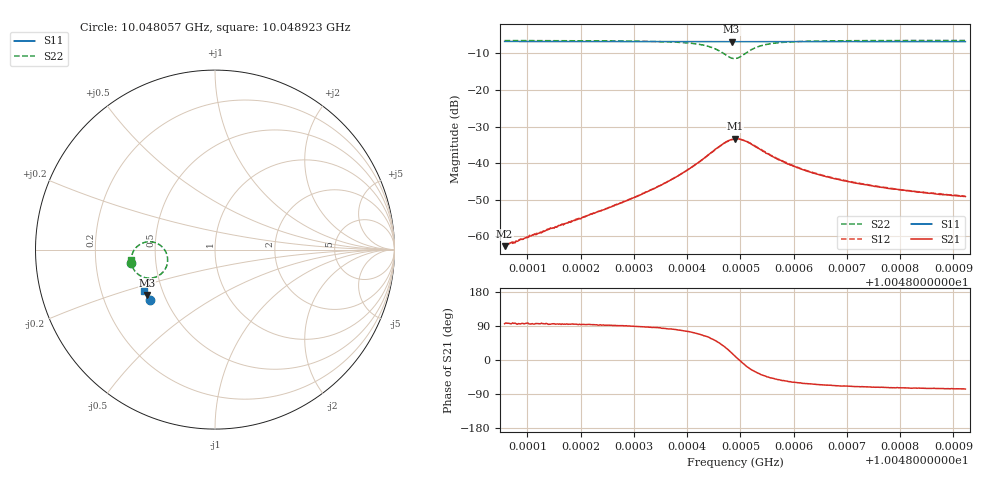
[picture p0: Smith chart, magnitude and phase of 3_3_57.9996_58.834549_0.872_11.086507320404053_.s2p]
#  HZ  S  RI  R  50.00
! Rohde & Schwarz Vector Network Analyzer
! Rohde-Schwarz,ZNB20-2Port,1311601062101988,3.16
! Created: UTC 3/21/2024, 12:50:22 AM
! freq[Hz]  re:S11  im:S11  re:S21  im:S21  re:S12  im:S12  re:S22  im:S22
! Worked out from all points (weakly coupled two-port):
!   401 points, 10.048057 GHz to 10.048923 GHz, reference 50 ohm
!   highest |S21| = -33.32 dB at 10.04849 GHz (marker M1); lowest = -62.7 dB at 10.048057 GHz (marker M2)
!   lowest |S11| = -6.8 dB at 10.048483 GHz (marker M3), VSWR 2.68, Z = 20.1 - j13 ohm
!   |S11| at or under -10 dB: nowhere
!   |S22| runs from -11.4 to -6.5 dB; largest |S21 - S12| = 0.0018
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1.00480571e10  -0.3641 -0.2803  -7.45e-05 0.000733  -0.000124 0.000741  -0.4673 -0.0746
1.00481415e10  -0.3676 -0.2756  -9.71e-05 0.00126  -0.000201 0.00126  -0.4677 -0.0643
1.00482021e10  -0.37 -0.2723  -0.00013 0.0018  -0.000235 0.00179  -0.4675 -0.0551
1.00482778e10  -0.3727 -0.268  -2.98e-05 0.00291  -0.000177 0.00289  -0.4654 -0.0396
1.0048347e10  -0.3754 -0.2641  0.000423 0.00487  0.000175 0.00492  -0.4584 -0.0172
1.00483968e10  -0.3771 -0.2609  0.00184 0.00755  0.00137 0.00765  -0.4414 0.00948
1.00484314e10  -0.3781 -0.2585  0.00512 0.0104  0.00435 0.0107  -0.407 0.0349
1.00484487e10  -0.3784 -0.2575  0.00849 0.0118  0.00774 0.0123  -0.3722 0.0437
1.00484617e10  -0.3784 -0.2566  0.0125 0.0119  0.0115 0.0127  -0.3352 0.0394
1.00484747e10  -0.3783 -0.2559  0.0172 0.00986  0.0163 0.0109  -0.2939 0.0146
1.00484834e10  -0.3781 -0.2557  0.0199 0.00676  0.0193 0.00832  -0.2724 -0.0167
1.00484899e10  -0.3784 -0.2557  0.0213 0.00376  0.0207 0.0055  -0.2645 -0.0457
1.00485007e10  -0.3786 -0.2557  0.0211 -0.00127  0.0212 0.000338  -0.2707 -0.0946
1.00485158e10  -0.3794 -0.2555  0.0177 -0.00683  0.0185 -0.00539  -0.3084 -0.1414
1.0048531e10  -0.3801 -0.2549  0.0137 -0.00902  0.0145 -0.00814  -0.3507 -0.1581
1.00485461e10  -0.3811 -0.2543  0.0105 -0.0095  0.0114 -0.00874  -0.3837 -0.1575
1.00485937e10  -0.3833 -0.2514  0.00511 -0.00789  0.00574 -0.00776  -0.434 -0.1326
1.00486348e10  -0.385 -0.249  0.0033 -0.0066  0.00377 -0.00655  -0.4502 -0.1143
1.00487106e10  -0.3877 -0.2446  0.00189 -0.00512  0.00227 -0.00506  -0.462 -0.0925
1.00487798e10  -0.3903 -0.2406  0.00131 -0.00432  0.00163 -0.00426  -0.4664 -0.0792
1.0048849e10  -0.3926 -0.2366  0.00103 -0.00379  0.00127 -0.00375  -0.4691 -0.0692
1.00489226e10  -0.3949 -0.2323  0.000808 -0.00341  0.00102 -0.00341  -0.4708 -0.0604
